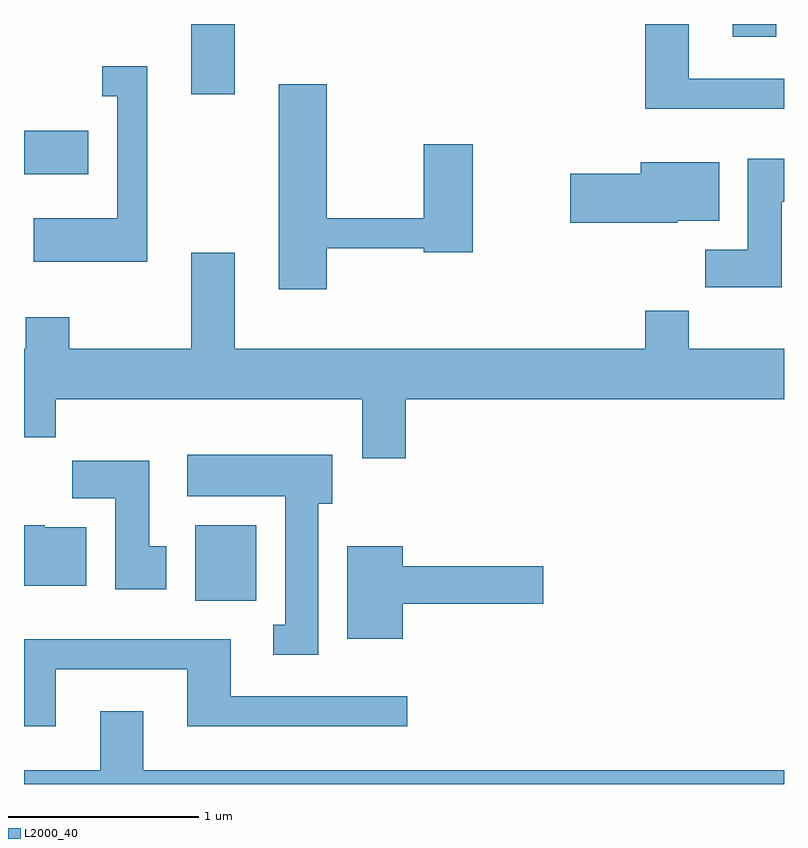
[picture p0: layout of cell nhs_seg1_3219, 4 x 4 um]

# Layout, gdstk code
import gdstk
lib = gdstk.Library(unit=1e-6, precision=1e-09)
def R(c, l, rs):  # rectangles x0, y0, x1, y1
    for r in rs: c.add(gdstk.rectangle(r[:2], r[2:], *l))
def P(c, l, *ps):  # polygons
    for p in ps: c.add(gdstk.Polygon(p, *l))
L2000_40 = (2000, 40)

nhs_seg1_3219 = lib.new_cell('nhs_seg1_3219')
R(nhs_seg1_3219, L2000_40, [(282.511,960.676,282.834,961.074), (281.611,962.921,281.949,963.149), (282.491,963.341,282.719,963.712), (285.341,963.646,285.569,963.712)])
P(nhs_seg1_3219, L2000_40, [(285.611,963.424),(285.109,963.424),(285.109,963.712),(284.881,963.712),(284.881,963.266),(285.611,963.266)],
  [(282.259,963.489),(282.023,963.489),(282.023,963.331),(282.101,963.331),(282.101,962.689),(281.661,962.689),(281.661,962.461),(282.259,962.461)],
  [(283.204,962.531),(283.716,962.531),(283.716,962.511),(283.974,962.511),(283.974,963.079),(283.716,963.079),(283.716,962.689),(283.204,962.689),(283.204,963.394),(282.951,963.394),(282.951,962.316),(283.204,962.316)],
  [(285.599,962.776),(285.611,962.776),(285.611,963.004),(285.421,963.004),(285.421,962.524),(285.196,962.524),(285.196,962.326),(285.599,962.326)],
  [(285.05,962.676),(285.269,962.676),(285.269,962.984),(284.856,962.984),(284.856,962.924),(284.486,962.924),(284.486,962.666),(285.05,962.666)],
  [(283.619,961.736),(285.611,961.736),(285.611,962.004),(285.109,962.004),(285.109,962.204),(284.881,962.204),(284.881,962.004),(282.719,962.004),(282.719,962.509),(282.491,962.509),(282.491,962.004),(281.849,962.004),(281.849,962.169),(281.621,962.169),(281.621,962.004),(281.611,962.004),(281.611,961.536),(281.779,961.536),(281.779,961.736),(283.391,961.736),(283.391,961.426),(283.619,961.426)],
  [(283.159,961.186),(283.234,961.186),(283.234,961.444),(282.471,961.444),(282.471,961.226),(282.986,961.226),(282.986,960.549),(282.923,960.549),(282.923,960.391),(283.159,960.391)],
  [(282.359,960.964),(282.269,960.964),(282.269,961.414),(281.866,961.414),(281.866,961.216),(282.091,961.216),(282.091,960.736),(282.359,960.736)],
  [(281.939,961.064),(281.72,961.064),(281.72,961.074),(281.611,961.074),(281.611,960.756),(281.939,960.756)],
  [(283.604,960.661),(284.344,960.661),(284.344,960.859),(283.604,960.859),(283.604,960.964),(283.311,960.964),(283.311,960.476),(283.604,960.476)],
  [(281.779,960.316),(282.471,960.316),(282.471,960.016),(283.628,960.016),(283.628,960.174),(282.699,960.174),(282.699,960.474),(281.611,960.474),(281.611,960.016),(281.779,960.016)],
  [(285.611,959.784),(282.239,959.784),(282.239,960.094),(282.011,960.094),(282.011,959.784),(281.611,959.784),(281.611,959.712),(285.611,959.712)])

lib.write_gds('nhs_seg1_3219.gds')
